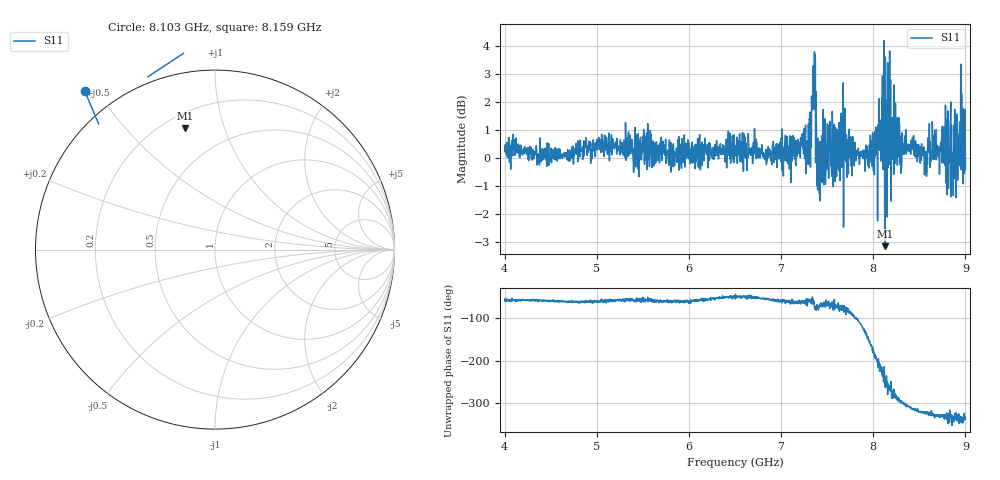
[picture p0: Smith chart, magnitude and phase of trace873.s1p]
! Created with skrf 1.8.0 (http://scikit-rf.org).
# Hz S RI R 50.0
!freq ReS11 ImS11
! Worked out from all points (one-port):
!   1601 points, 4 GHz to 9 GHz, reference 50 ohm
!   lowest |S11| = -3.1 dB at 8.125 GHz (marker M1), VSWR 5.59, Z = 14.1 + j37.1 ohm
!   |S11| at or under -10 dB: nowhere
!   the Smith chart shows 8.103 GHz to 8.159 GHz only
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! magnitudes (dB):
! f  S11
! 4 GHz  0.3
! 4.625 GHz  0.0
! 5.016 GHz  0.6
! 5.25 GHz  0.1
! 5.875 GHz  0.3
! 6.5 GHz  0.1
! 7.125 GHz  0.4
! 7.294 GHz  -0.2
! 7.356 GHz  2.5
! 7.412 GHz  0.5
! 7.512 GHz  0.8
! 7.609 GHz  0.5
! 7.669 GHz  1.7
! 7.703 GHz  -0.1
! 7.75 GHz  0.0
! 8.022 GHz  0.0
! 8.066 GHz  1.3
! 8.097 GHz  1.3
! 8.125 GHz  -3.1
! 8.15 GHz  -2.1
! 8.153 GHz  2.1
! 8.206 GHz  0.0
! 8.375 GHz  0.4
! 8.562 GHz  -0.6
! 8.666 GHz  0.1
! 8.844 GHz  -1.4
! 8.959 GHz  2.3
! 9 GHz  -0.4
